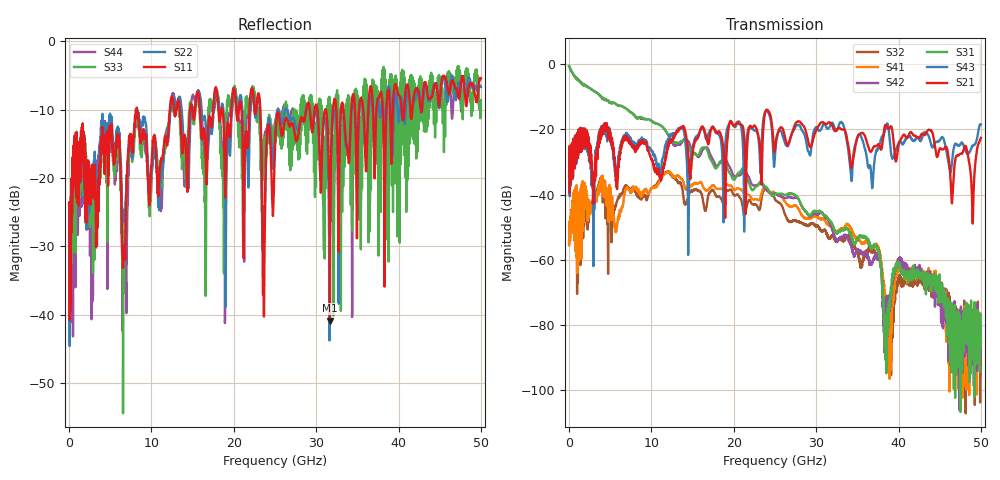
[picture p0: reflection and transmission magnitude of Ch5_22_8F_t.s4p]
!Agilent Technologies,N5247A,US51170199,A.09.90.13
!Agilent N5247A: A.09.90.13
!Date: Tuesday, December 08, 2015 12:51:22
!Correction: S11(Full 4 Port(1,2,3,4))
!S12(Full 4 Port(1,2,3,4))
!S13(Full 4 Port(1,2,3,4))
!S14(Full 4 Port(1,2,3,4))
!S21(Full 4 Port(1,2,3,4))
!S22(Full 4 Port(1,2,3,4))
!S23(Full 4 Port(1,2,3,4))
!S24(Full 4 Port(1,2,3,4))
!S31(Full 4 Port(1,2,3,4))
!S32(Full 4 Port(1,2,3,4))
!S33(Full 4 Port(1,2,3,4))
!S34(Full 4 Port(1,2,3,4))
!S41(Full 4 Port(1,2,3,4))
!S42(Full 4 Port(1,2,3,4))
!S43(Full 4 Port(1,2,3,4))
!S44(Full 4 Port(1,2,3,4))
!S4P File: Measurements: <S11,S12,S13,S14>,
!<S21,S22,S23,S24>,
!<S31,S32,S33,S34>,
!<S41,S42,S43,S44>:
# Hz S  dB  R 50
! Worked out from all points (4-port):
!   3201 points, 10 MHz to 50 GHz, reference 50 ohm
!   strongest paths, dB at 10 MHz, 12.51 GHz, 25 GHz, 37.5 GHz, 50 GHz:
!     S21: -34.4, -23.5, -26.2, -24.6, -22.6
!     S43: -34.5, -21.7, -27.7, -26.1, -18.5
!     S31: -0.6, -23.7, -39.7, -57.0, -85.2
!     S42: -0.6, -24.1, -39.5, -59.0, -85.4
!     S41: -55.5, -34.1, -39.7, -56.0, -84.7
!     S32: -55.3, -34.5, -41.4, -59.4, -85.4
!   lowest |S11| = -40.9 dB at 31.68 GHz (marker M1), VSWR 1.02, Z = 50 + j0.904 ohm
!   |S11| at or under -10 dB: start of sweep to 8.209 GHz; 8.248 GHz to 12.25 GHz (3.999 GHz wide, 39 % of centre); 23.22 GHz to 28.81 GHz (5.59 GHz wide, 21.5 % of centre)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
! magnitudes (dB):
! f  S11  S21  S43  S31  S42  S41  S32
! 10 MHz  -23.9  -34.4  -34.5  -0.6  -0.6  -55.5  -55.3
! 11.98 GHz  -14.4  -25.9  -23.7  -21.3  -21.6  -33.4  -33.2
! 31.68 GHz  -40.9  -17.9  -18.9  -48.0  -48.9  -49.5  -53.1
! 37.33 GHz  -9.8  -25.1  -26.6  -56.2  -58.5  -55.4  -58.9
! 38.49 GHz  -11.1  -18.7  -19.0  -78.2  -76.3  -76.4  -74.9
! 39.96 GHz  -7.8  -25.5  -24.6  -61.1  -60.8  -63.6  -66.5
! 50 GHz  -5.4  -22.6  -18.5  -85.2  -85.4  -84.7  -85.4
